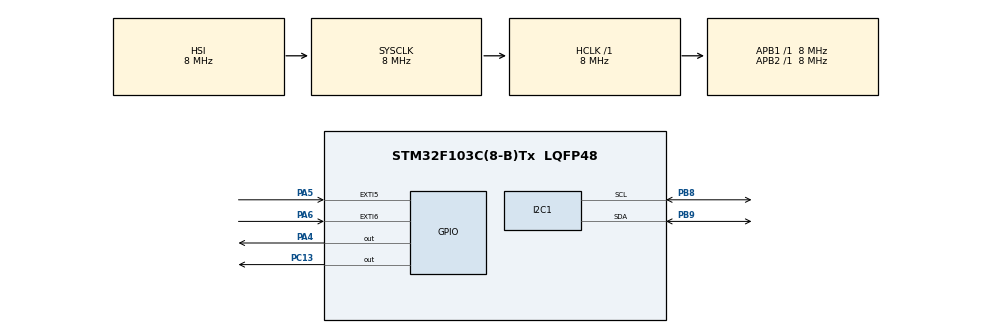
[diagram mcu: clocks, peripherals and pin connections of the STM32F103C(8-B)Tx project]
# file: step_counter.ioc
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Mcu.Family=STM32F1
Mcu.Name=STM32F103C(8-B)Tx
Mcu.Package=LQFP48
NVIC.EXTI9_5_IRQn=true\:0\:0\:false\:false\:true\:true\:true\:true
NVIC.PriorityGroup=NVIC_PRIORITYGROUP_4
NVIC.TIM4_IRQn=true\:0\:0\:false\:false\:true\:true\:true\:true
PA13.Mode=Serial_Wire
PA13.Signal=SYS_JTMS-SWDIO
PA14.Mode=Serial_Wire
PA14.Signal=SYS_JTCK-SWCLK
PA4.Signal=GPIO_Output
PA5.GPIO_PuPd=GPIO_PULLUP
PA5.Signal=GPXTI5
PA6.GPIO_PuPd=GPIO_PULLUP
PA6.Signal=GPXTI6
PB8.Mode=I2C
PB8.Signal=I2C1_SCL
PB9.Mode=I2C
PB9.Signal=I2C1_SDA
PC13-TAMPER-RTC.PinState=GPIO_PIN_SET
PC13-TAMPER-RTC.Signal=GPIO_Output
PD0-OSC_IN.Mode=HSE-External-Oscillator
PD0-OSC_IN.Signal=RCC_OSC_IN
PD1-OSC_OUT.Mode=HSE-External-Oscillator
PD1-OSC_OUT.Signal=RCC_OSC_OUT
ProjectManager.HeapSize=0x200
ProjectManager.StackSize=0x400
ProjectManager.TargetToolchain=MDK-ARM V5
RCC.AHBFreq_Value=8000000
RCC.APB1Freq_Value=8000000
RCC.APB1TimFreq_Value=8000000
RCC.APB2Freq_Value=8000000
RCC.APB2TimFreq_Value=8000000
RCC.HCLKFreq_Value=8000000
RCC.SYSCLKFreq_VALUE=8000000
RCC.USBFreq_Value=8000000
TIM4.Period=1000
TIM4.Prescaler=8000-1
VP_TIM4_VS_ClockSourceINT.Mode=Internal
board=custom

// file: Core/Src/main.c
/* USER CODE BEGIN Header */
/**
  ******************************************************************************
  * @file           : main.c
  * @brief          : Main program body
  ******************************************************************************
  * @attention
  *
  * Copyright (c) 2023 STMicroelectronics.
  * All rights reserved.
  *
  * This software is licensed under terms that can be found in the LICENSE file
  * in the root directory of this software component.
  * If no LICENSE file comes with this software, it is provided AS-IS.
  *
  ******************************************************************************
  */
/* USER CODE END Header */
#include "main.h"

/* USER CODE BEGIN Includes */
#include "stdio.h"
#include "math.h"
#include "stdbool.h"
/* USER CODE END Includes */

/* USER CODE BEGIN PD */

#define SLAVE_ADDRESS_LCD 0x4E

#define MPU6050_ADDR 0xD0
#define SMPLRT_DIV_REG 0x19
#define GYRO_CONFIG_REG 0x1B
#define ACCEL_CONFIG_REG 0x1C
#define ACCEL_XOUT_H_REG 0x3B
#define TEMP_OUT_H_REG 0x41
#define GYRO_XOUT_H_REG 0x43
#define PWR_MGMT_1_REG 0x6B
#define WHO_AM_I_REG 0x75
float threshold = 180;
bool stop=true;
int step = 0;

int16_t Accel_X_RAW, Accel_Y_RAW, Accel_Z_RAW;
int16_t Gyro_X_RAW, Gyro_Y_RAW, Gyro_Z_RAW;
float Ax, Ay, Az, Gx, Gy, Gz;
extern I2C_HandleTypeDef hi2c1;  // change your handler here accordingly
void MPU6050_init(void); //Initialize the MPU
void MPU6050_Read_Accel (float *Ax, float *Ay, float *Az); //Read MPU Accelerator
void MPU6050_Read_Gyro (float *Gx, float *Gy, float *Gz); //Read MPU Gyroscope
void lcd_init (void);   // initialize lcd

void lcd_send_cmd (char cmd);  // send command to the lcd
void lcd_send_data (char data);  // send data to the lcd
void lcd_send_string (char *str);  // send string to the lcd
void lcd_put_cur(int row, int col);  // put cursor at the entered position row (0 or 1), col (0-15);
void lcd_clear (void);
/* USER CODE END PD */

I2C_HandleTypeDef hi2c1;

TIM_HandleTypeDef htim4;

void SystemClock_Config(void);
static void MX_GPIO_Init(void);
static void MX_I2C1_Init(void);
static void MX_TIM4_Init(void);

/* USER CODE BEGIN 0 */
void HAL_TIM_PeriodElapsedCallback(TIM_HandleTypeDef *htim)
{
	if(!stop)
	{
		HAL_GPIO_TogglePin(GPIOC, GPIO_PIN_13);
	}
	else
	{
		HAL_GPIO_TogglePin(GPIOA, GPIO_PIN_4);
	}
}

void HAL_GPIO_EXTI_Callback(uint16_t GPIO_Pin)
{
	if( GPIO_Pin == GPIO_PIN_5)
	{
		HAL_GPIO_WritePin(GPIOC, GPIO_PIN_13, GPIO_PIN_SET);
		HAL_GPIO_WritePin(GPIOA, GPIO_PIN_4, GPIO_PIN_RESET);
		stop = !stop;
	}
	if ( GPIO_Pin == GPIO_PIN_6 && !stop)
	{
		step = 0;
	}
}

void MPU6050_init(void)
{
	uint8_t check,data;
	HAL_I2C_Mem_Read(&hi2c1, MPU6050_ADDR, WHO_AM_I_REG, 1, &check, 1 , 1000);
	if (check == 104)
	{
		//Power management register write all 0's to wake up sensor
		data = 0;
		HAL_I2C_Mem_Write(&hi2c1,MPU6050_ADDR, PWR_MGMT_1_REG, 1, &data, 1, 1000);
		//Set data rate of 1KHz by writing SMPRT_DIV register
		data = 0x07;
		HAL_I2C_Mem_Write(&hi2c1, MPU6050_ADDR, SMPLRT_DIV_REG, 1, &data, 1, 1000);
		//Writing both register with 0 to set full scale range
		data = 0x00;
		HAL_I2C_Mem_Write(&hi2c1, MPU6050_ADDR, ACCEL_CONFIG_REG, 1, &data, 1, 1000);

		data = 0x00;
		HAL_I2C_Mem_Write(&hi2c1, MPU6050_ADDR, GYRO_CONFIG_REG, 1, &data, 1, 1000);
	}
}

void MPU6050_Read_Accel (float* Ax, float* Ay, float* Az)
{
	uint8_t Rec_Data[6];

	HAL_I2C_Mem_Read (&hi2c1, MPU6050_ADDR, ACCEL_XOUT_H_REG, 1, Rec_Data, 6, 1000);
	//Adding 2 BYTES into 16 bit integer
	Accel_X_RAW = (int16_t)(Rec_Data[0] << 8 | Rec_Data [1]);
	Accel_Y_RAW = (int16_t)(Rec_Data[2] << 8 | Rec_Data [3]);
	Accel_Z_RAW = (int16_t)(Rec_Data[4] << 8 | Rec_Data [5]);

	*Ax = Accel_X_RAW*100/16384.0;
	*Ay = Accel_Y_RAW*100/16384.0;
	*Az = Accel_Z_RAW*100/16384.0;
}
void MPU6050_Read_Gyro (float* Gx, float* Gy, float* Gz)
{
	uint8_t Rec_Data[6];
	HAL_I2C_Mem_Read (&hi2c1, MPU6050_ADDR, GYRO_XOUT_H_REG, 1, Rec_Data, 6, 1000);
	Gyro_X_RAW = (int16_t)(Rec_Data[0] << 8 | Rec_Data [1]);
	Gyro_Y_RAW = (int16_t)(Rec_Data[0] << 8 | Rec_Data [1]);
	Gyro_Z_RAW = (int16_t)(Rec_Data[0] << 8 | Rec_Data [1]);

	*Gx = Gyro_X_RAW/131.0;
	*Gy = Gyro_Y_RAW/131.0;
	*Gz = Gyro_Z_RAW/131.0;
}

void lcd_send_cmd (char cmd)
{
  char data_u, data_l;
	uint8_t data_t[4];
	data_u = (cmd&0xf0);
	data_l = ((cmd<<4)&0xf0);
	data_t[0] = data_u|0x0C;  //en=1, rs=0
	data_t[1] = data_u|0x08;  //en=0, rs=0
	data_t[2] = data_l|0x0C;  //en=1, rs=0
	data_t[3] = data_l|0x08;  //en=0, rs=0
	HAL_I2C_Master_Transmit (&hi2c1, SLAVE_ADDRESS_LCD,(uint8_t *) data_t, 4, 100);
}

void lcd_send_data (char data)
{
	char data_u, data_l;
	uint8_t data_t[4];
	data_u = (data&0xf0);
	data_l = ((data<<4)&0xf0);
	data_t[0] = data_u|0x0D;  //en=1, rs=0
	data_t[1] = data_u|0x09;  //en=0, rs=0
	data_t[2] = data_l|0x0D;  //en=1, rs=0
	data_t[3] = data_l|0x09;  //en=0, rs=0
	HAL_I2C_Master_Transmit (&hi2c1, SLAVE_ADDRESS_LCD,(uint8_t *) data_t, 4, 100);
}

void lcd_clear (void)
{
	lcd_send_cmd (0x80);
	for (int i=0; i<70; i++)
	{
		lcd_send_data (' ');
	}
}

void lcd_put_cur(int row, int col)
{
    switch (row)
    {
        case 0:
            col |= 0x80;
            break;
        case 1:
            col |= 0xC0;
            break;
    }
    lcd_send_cmd (col);
}

void lcd_init (void)
{
	// 4 bit initialisation
	HAL_Delay(50);  // wait for >40ms
	lcd_send_cmd (0x30);
	HAL_Delay(5);  // wait for >4.1ms
	lcd_send_cmd (0x30);
	HAL_Delay(1);  // wait for >100us
	lcd_send_cmd (0x30);
	HAL_Delay(10);
	lcd_send_cmd (0x20);  // 4bit mode
	HAL_Delay(10);

  // dislay initialisation
	lcd_send_cmd (0x28); // Function set --> DL=0 (4 bit mode), N = 1 (2 line display) F = 0 (5x8 characters)
	HAL_Delay(1);
	lcd_send_cmd (0x08); //Display on/off control --> D=0,C=0, B=0  ---> display off
	HAL_Delay(1);
	lcd_send_cmd (0x01);  // clear display
	HAL_Delay(1);
	HAL_Delay(1);
	lcd_send_cmd (0x06); //Entry mode set --> I/D = 1 (increment cursor) & S = 0 (no shift)
	HAL_Delay(1);
	lcd_send_cmd (0x0C); //Display on/off control --> D = 1, C and B = 0. (Cursor and blink, last two bits)
}

void lcd_send_string (char *str)
{
	while (*str) lcd_send_data (*str++);
}

int is_step = 0;

int step_counter(){
	float total_accel = sqrt(Ax * Ax + Ay * Ay + Az * Az );

  if (total_accel > threshold && !is_step) {
            step++;
            is_step = 1;
	}
	else if (total_accel < threshold && is_step) {
            is_step = 0;
  }
	return step;
}

/* USER CODE END 0 */

int main(void)
{

  /* MCU Configuration--------------------------------------------------------*/

  /* Reset of all peripherals, Initializes the Flash interface and the Systick. */
  HAL_Init();

  /* Configure the system clock */
  SystemClock_Config();

  /* Initialize all configured peripherals */
  MX_GPIO_Init();
  MX_I2C1_Init();
  MX_TIM4_Init();
  /* USER CODE BEGIN 2 */
	HAL_TIM_Base_Start_IT(&htim4);
	lcd_init();
	MPU6050_init();
	lcd_clear();

  /* USER CODE END 2 */

  /* Infinite loop */
  /* USER CODE BEGIN WHILE */
  while (1)
  {

		if(stop)
		{
			lcd_put_cur(0,0);
			lcd_send_string("Press SW1");
			lcd_put_cur(1,4);
			lcd_send_string("to continue");
            HAL_Delay(100);
			lcd_clear();
			continue;
		}

		MPU6050_Read_Accel(&Ax, &Ay, &Az);
		MPU6050_Read_Gyro(&Gx, &Gy, &Gz);
		step = step_counter();
		float total_accel = sqrt(Ax * Ax + Ay * Ay + Az * Az );

		lcd_put_cur(0,0);
		lcd_send_string("step:");
		char str[8];
		sprintf(str, "%d", step);
		lcd_send_string(str);

		HAL_Delay(100);
    /* USER CODE END WHILE */

  }
}

void SystemClock_Config(void)
{
  RCC_OscInitTypeDef RCC_OscInitStruct = {0};
  RCC_ClkInitTypeDef RCC_ClkInitStruct = {0};

  /** Initializes the RCC Oscillators according to the specified parameters
  * in the RCC_OscInitTypeDef structure.
  */
  RCC_OscInitStruct.OscillatorType = RCC_OSCILLATORTYPE_HSI;
  RCC_OscInitStruct.HSIState = RCC_HSI_ON;
  RCC_OscInitStruct.HSICalibrationValue = RCC_HSICALIBRATION_DEFAULT;
  RCC_OscInitStruct.PLL.PLLState = RCC_PLL_NONE;
  if (HAL_RCC_OscConfig(&RCC_OscInitStruct) != HAL_OK)
  {
    Error_Handler();
  }

  /** Initializes the CPU, AHB and APB buses clocks
  */
  RCC_ClkInitStruct.ClockType = RCC_CLOCKTYPE_HCLK|RCC_CLOCKTYPE_SYSCLK
                              |RCC_CLOCKTYPE_PCLK1|RCC_CLOCKTYPE_PCLK2;
  RCC_ClkInitStruct.SYSCLKSource = RCC_SYSCLKSOURCE_HSI;
  RCC_ClkInitStruct.AHBCLKDivider = RCC_SYSCLK_DIV1;
  RCC_ClkInitStruct.APB1CLKDivider = RCC_HCLK_DIV1;
  RCC_ClkInitStruct.APB2CLKDivider = RCC_HCLK_DIV1;

  if (HAL_RCC_ClockConfig(&RCC_ClkInitStruct, FLASH_LATENCY_0) != HAL_OK)
  {
    Error_Handler();
  }
}

static void MX_I2C1_Init(void)
{

  hi2c1.Instance = I2C1;
  hi2c1.Init.ClockSpeed = 100000;
  hi2c1.Init.DutyCycle = I2C_DUTYCYCLE_2;
  hi2c1.Init.OwnAddress1 = 0;
  hi2c1.Init.AddressingMode = I2C_ADDRESSINGMODE_7BIT;
  hi2c1.Init.DualAddressMode = I2C_DUALADDRESS_DISABLE;
  hi2c1.Init.OwnAddress2 = 0;
  hi2c1.Init.GeneralCallMode = I2C_GENERALCALL_DISABLE;
  hi2c1.Init.NoStretchMode = I2C_NOSTRETCH_DISABLE;
  if (HAL_I2C_Init(&hi2c1) != HAL_OK)
  {
    Error_Handler();
  }

}

static void MX_TIM4_Init(void)
{

  TIM_ClockConfigTypeDef sClockSourceConfig = {0};
  TIM_MasterConfigTypeDef sMasterConfig = {0};

  htim4.Instance = TIM4;
  htim4.Init.Prescaler = 8000-1;
  htim4.Init.CounterMode = TIM_COUNTERMODE_UP;
  htim4.Init.Period = 1000;
  htim4.Init.ClockDivision = TIM_CLOCKDIVISION_DIV1;
  htim4.Init.AutoReloadPreload = TIM_AUTORELOAD_PRELOAD_DISABLE;
  if (HAL_TIM_Base_Init(&htim4) != HAL_OK)
  {
    Error_Handler();
  }
  sClockSourceConfig.ClockSource = TIM_CLOCKSOURCE_INTERNAL;
  if (HAL_TIM_ConfigClockSource(&htim4, &sClockSourceConfig) != HAL_OK)
  {
    Error_Handler();
  }
  sMasterConfig.MasterOutputTrigger = TIM_TRGO_RESET;
  sMasterConfig.MasterSlaveMode = TIM_MASTERSLAVEMODE_DISABLE;
  if (HAL_TIMEx_MasterConfigSynchronization(&htim4, &sMasterConfig) != HAL_OK)
  {
    Error_Handler();
  }

}

static void MX_GPIO_Init(void)
{
  GPIO_InitTypeDef GPIO_InitStruct = {0};

  /* GPIO Ports Clock Enable */
  __HAL_RCC_GPIOC_CLK_ENABLE();
  __HAL_RCC_GPIOD_CLK_ENABLE();
  __HAL_RCC_GPIOA_CLK_ENABLE();
  __HAL_RCC_GPIOB_CLK_ENABLE();

  /*Configure GPIO pin Output Level */
  HAL_GPIO_WritePin(GPIOC, GPIO_PIN_13, GPIO_PIN_SET);

  /*Configure GPIO pin Output Level */
  HAL_GPIO_WritePin(GPIOA, GPIO_PIN_4, GPIO_PIN_RESET);

  /*Configure GPIO pin : PC13 */
  GPIO_InitStruct.Pin = GPIO_PIN_13;
  GPIO_InitStruct.Mode = GPIO_MODE_OUTPUT_PP;
  GPIO_InitStruct.Pull = GPIO_NOPULL;
  GPIO_InitStruct.Speed = GPIO_SPEED_FREQ_LOW;
  HAL_GPIO_Init(GPIOC, &GPIO_InitStruct);

  /*Configure GPIO pin : PA4 */
  GPIO_InitStruct.Pin = GPIO_PIN_4;
  GPIO_InitStruct.Mode = GPIO_MODE_OUTPUT_PP;
  GPIO_InitStruct.Pull = GPIO_NOPULL;
  GPIO_InitStruct.Speed = GPIO_SPEED_FREQ_LOW;
  HAL_GPIO_Init(GPIOA, &GPIO_InitStruct);

  /*Configure GPIO pins : PA5 PA6 */
  GPIO_InitStruct.Pin = GPIO_PIN_5|GPIO_PIN_6;
  GPIO_InitStruct.Mode = GPIO_MODE_IT_RISING;
  GPIO_InitStruct.Pull = GPIO_PULLUP;
  HAL_GPIO_Init(GPIOA, &GPIO_InitStruct);

  /* EXTI interrupt init*/
  HAL_NVIC_SetPriority(EXTI9_5_IRQn, 0, 0);
  HAL_NVIC_EnableIRQ(EXTI9_5_IRQn);

}

void Error_Handler(void)
{
  __disable_irq();
  while (1)
  {
  }
}
